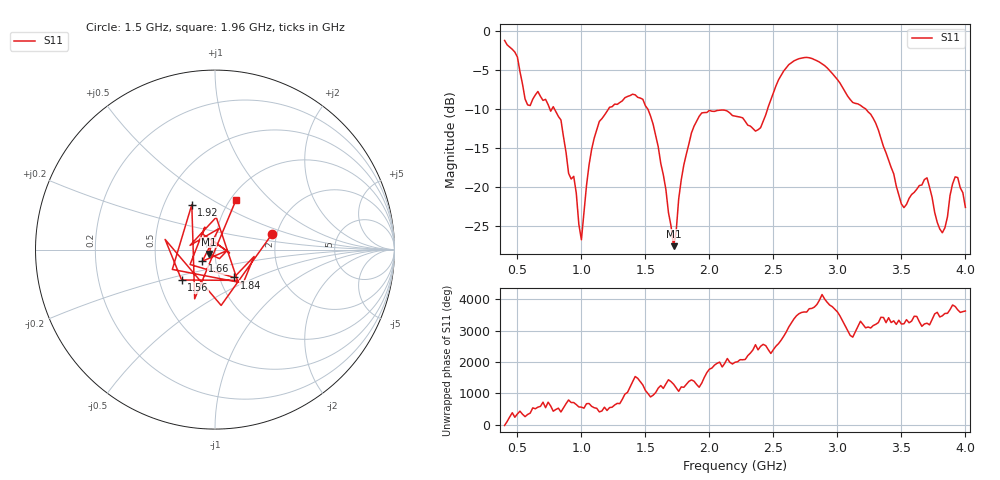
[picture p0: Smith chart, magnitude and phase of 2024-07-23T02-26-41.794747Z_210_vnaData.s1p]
!Created with skrf (http://scikit-rf.org).
# Hz S RI R 50.0
!freq ReS11 ImS11
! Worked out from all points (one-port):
!   181 points, 400 MHz to 4 GHz, reference 50 ohm
!   lowest |S11| = -27.6 dB at 1.72 GHz (marker M1), VSWR 1.09, Z = 46.7 - j2.26 ohm
!   |S11| at or under -10 dB: 788 MHz to 1.213 GHz (425.4 MHz wide, 42.5 % of centre); 1.516 GHz to 2.455 GHz (939.5 MHz wide, 47.3 % of centre); 3.217 GHz to end of sweep (the widest 3 of 4)
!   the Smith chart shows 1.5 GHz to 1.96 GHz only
!   S11 on the Smith chart (normalised r, x): 1.5 GHz: 1.89, +0.37; 1.56 GHz: 0.65, -0.24; 1.66 GHz: 0.86, -0.11; 1.84 GHz: 1.17, -0.38; 1.92 GHz: 0.69, +0.37; 1.96 GHz: 1.06, +0.64
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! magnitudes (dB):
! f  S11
! 400 MHz  -1.3
! 500 MHz  -3.4
! 580 MHz  -9.5
! 660 MHz  -7.8
! 860 MHz  -13.6
! 940 MHz  -18.7
! 1 GHz  -26.8
! 1.1 GHz  -13.8
! 1.3 GHz  -9.2
! 1.5 GHz  -9.6
! 1.56 GHz  -12.0
! 1.66 GHz  -20.4
! 1.72 GHz  -27.6
! 1.76 GHz  -21.6
! 1.84 GHz  -14.5
! 1.92 GHz  -11.0
! 1.96 GHz  -10.5
! 2.2 GHz  -11.0
! 2.4 GHz  -12.5
! 2.66 GHz  -3.9
! 3.1 GHz  -8.8
! 3.28 GHz  -11.3
! 3.5 GHz  -22.2
! 3.56 GHz  -21.5
! 3.7 GHz  -18.9
! 3.82 GHz  -25.9
! 3.92 GHz  -18.8
! 4 GHz  -22.7
